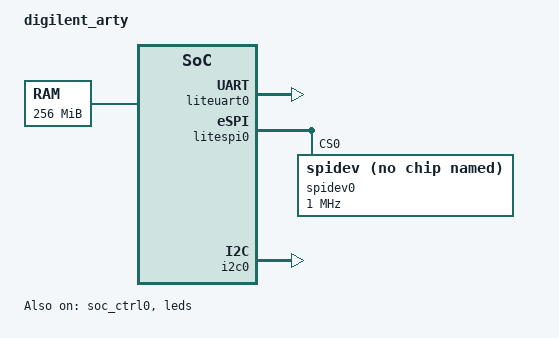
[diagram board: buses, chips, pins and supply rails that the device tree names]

/dts-v1/;

/ {
        compatible = "litex,digilent_arty", "litex,soc";
        model = "digilent_arty";
        #address-cells = <1>;
        #size-cells    = <1>;


        chosen {
            bootargs = "console=liteuart earlycon=liteuart,0xf0004000 rootwait root=/dev/ram0";
            linux,initrd-start = <0x41000000>;
            linux,initrd-end   = <0x41800000>;
        };

        sys_clk: clock-100000000 {
            compatible = "fixed-clock";
            #clock-cells = <0>;
            clock-frequency  = <100000000>;
        };

        cpus {
            #address-cells = <1>;
            #size-cells    = <0>;
            timebase-frequency = <100000000>;

            CPU0: cpu@0 {
                device_type = "cpu";
                compatible = "riscv";
                riscv,isa = "rv32i2p0_ma";
                riscv,isa-base = "rv32i";
                riscv,isa-extensions = "a", "i", "m";
                mmu-type = "riscv,sv32";
                reg = <0>;
                clock-frequency = <100000000>;
                status = "okay";
                
                d-cache-size = <4096>;
                d-cache-sets = <1>;
                d-cache-block-size = <64>;

                i-cache-size = <4096>;
                i-cache-sets = <1>;
                i-cache-block-size = <64>;

                
                tlb-split;
                d-tlb-size = <4>;
                d-tlb-sets = <4>;

                i-tlb-size = <4>;
                i-tlb-sets = <4>;

                
                L0: interrupt-controller {
                    #address-cells = <0>;
                    #interrupt-cells = <0x00000001>;
                    interrupt-controller;
                    compatible = "riscv,cpu-intc";
                };
            };

            CPU1: cpu@1 {
                device_type = "cpu";
                compatible = "riscv";
                riscv,isa = "rv32i2p0_ma";
                riscv,isa-base = "rv32i";
                riscv,isa-extensions = "a", "i", "m";
                mmu-type = "riscv,sv32";
                reg = <1>;
                clock-frequency = <100000000>;
                status = "okay";
                
                d-cache-size = <4096>;
                d-cache-sets = <1>;
                d-cache-block-size = <64>;

                i-cache-size = <4096>;
                i-cache-sets = <1>;
                i-cache-block-size = <64>;

                
                tlb-split;
                d-tlb-size = <4>;
                d-tlb-sets = <4>;

                i-tlb-size = <4>;
                i-tlb-sets = <4>;

                
                L1: interrupt-controller {
                    #address-cells = <0>;
                    #interrupt-cells = <0x00000001>;
                    interrupt-controller;
                    compatible = "riscv,cpu-intc";
                };
            };

            
            cpu-map {
                cluster0 {
                    core0 {
                        cpu = <&CPU0>;
                    };
                    core1 {
                        cpu = <&CPU1>;
                    };
                };
            };
        };

        memory: memory@40000000 {
            device_type = "memory";
            reg = <0x40000000 0x10000000>;
        };

        soc {
            #address-cells = <1>;
            #size-cells    = <1>;
            compatible = "simple-bus";
            interrupt-parent = <&intc0>;
            ranges;

            soc_ctrl0: soc_controller@f0000000 {
                compatible = "litex,soc-controller";
                reg = <0xf0000000 0xc>;
                status = "okay";
            };

            intc0: interrupt-controller@f0c00000 {
                compatible = "sifive,fu540-c000-plic", "sifive,plic-1.0.0";
                reg = <0xf0c00000 0x400000>;
                #address-cells = <0>;
                #interrupt-cells = <1>;
                interrupt-controller;
                interrupts-extended = <
                    &L0 11 &L0 9
                    &L1 11 &L1 9>;
                riscv,ndev = <32>;
                
            };

            liteuart0: serial@f0004000 {
                compatible = "litex,liteuart";
                reg = <0xf0004000 0x100>;
                interrupts = <1>;
                status = "okay";
            };

            leds: gpio@f0002000 {
                compatible = "litex,gpio";
                reg = <0xf0002000 0x4>;
                gpio-controller;
                #gpio-cells = <2>;
                litex,direction = "out";
                status = "disabled";
            };

            litespi0: spi@f0003000 {
                compatible = "litex,litespi";
                reg = <0xf0003000 0x100>;
                status = "okay";

                litespi,max-bpw = <8>;
                litespi,sck-frequency = <1000000>;
                litespi,num-cs = <1>;

                #address-cells = <1>;
                #size-cells    = <0>;

                spidev0: spidev@0 {
                    compatible = "linux,spidev";
                    reg = <0>;
                    spi-max-frequency = <1000000>;
                    status = "okay";
                };
            };

            i2c0: i2c@f0001000 {
                compatible = "litex,i2c";
                reg = <0xf0001000 0x5>;
                #address-cells = <1>;
                #size-cells = <0>;
                status = "okay";
            };

        };

        aliases {

                serial0 = &liteuart0;

                spi0 = &litespi0;

        };

};

&leds {
        litex,ngpio = <4>;
        status = "okay";
};
